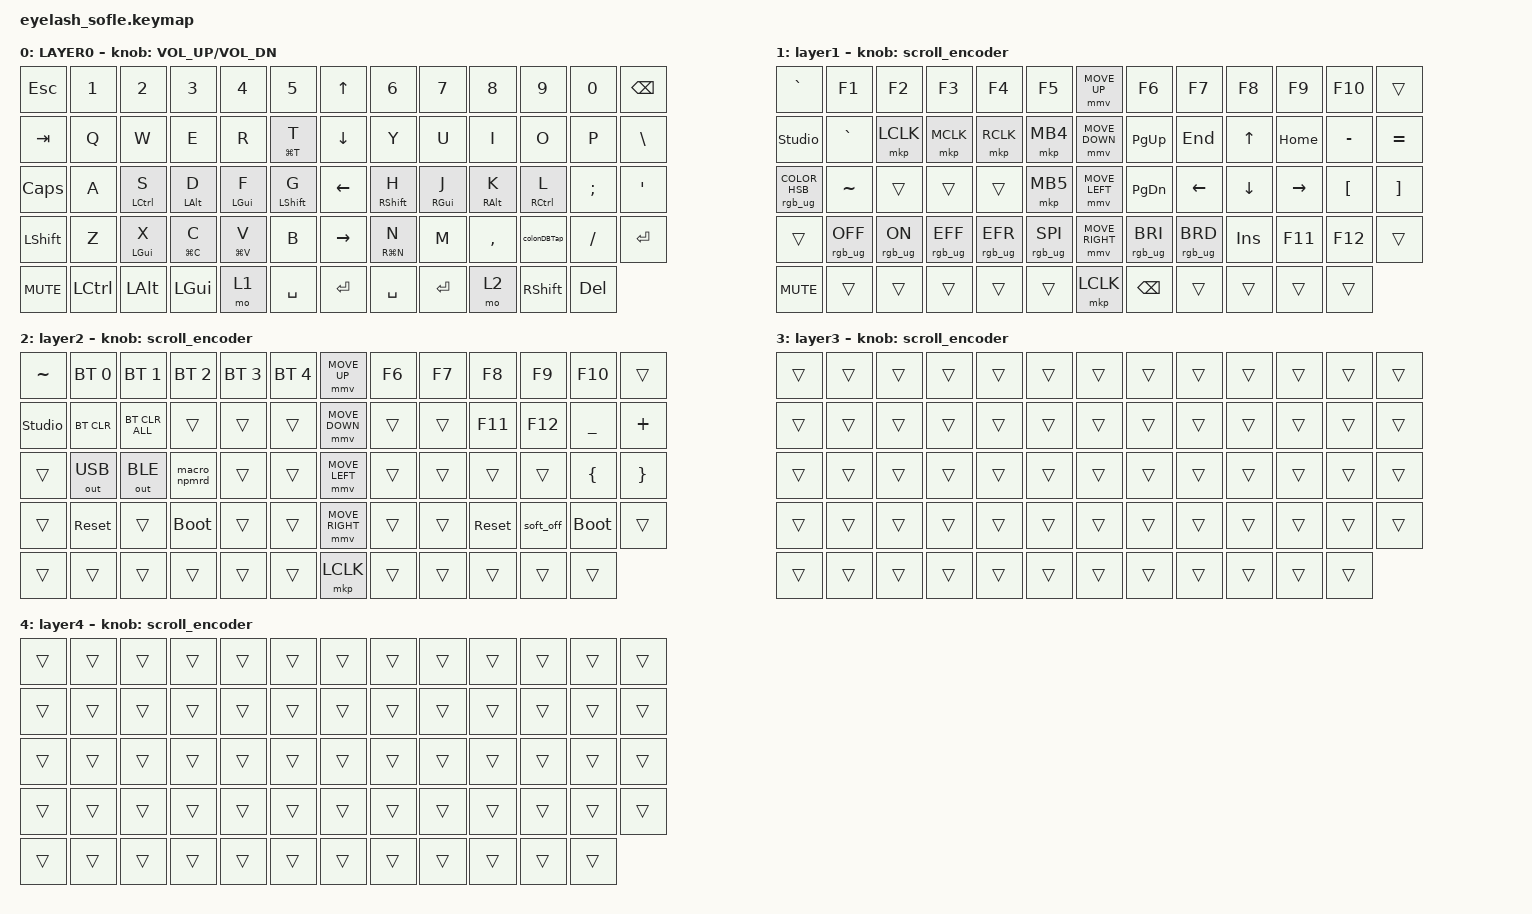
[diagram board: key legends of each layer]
#define ZMK_POINTING_DEFAULT_MOVE_VAL 1200  // 600
#define ZMK_POINTING_DEFAULT_SCRL_VAL 25   // 10

#include <input/processors.dtsi>
#include <zephyr/dt-bindings/input/input-event-codes.h>
#include <behaviors.dtsi>
#include <dt-bindings/zmk/bt.h>
#include <dt-bindings/zmk/keys.h>
#include <dt-bindings/zmk/outputs.h>
#include <dt-bindings/zmk/pointing.h>
#include <dt-bindings/zmk/rgb.h>

&mmv_input_listener { input-processors = <&zip_xy_scaler 2 1>; };

&msc_input_listener { input-processors = <&zip_scroll_scaler 2 1>; };

&msc {
    acceleration-exponent = <1>;      // 0
    time-to-max-speed-ms = <300>;       // 300 // 100
    delay-ms = <0>;                   // 0
};

&mmv {
    time-to-max-speed-ms = <1600>; // 500
    acceleration-exponent = <1>;
    trigger-period-ms = <16>;
};

&soft_off { hold-time-ms = <2000>; };

/ {
    scroll_encoder: scroll_encoder {
        compatible = "zmk,behavior-sensor-rotate";
        #sensor-binding-cells = <0>;
        bindings = <&msc SCRL_DOWN>, <&msc SCRL_UP>;

        tap-ms = <100>;
    };

    colonDBTap: colonDBTap {
        compatible = "zmk,behavior-tap-dance";
        label = "COLONDBTAP";
        #binding-cells = <0>;
        bindings = <&kp PERIOD>, <&kp COLON>;

        tapping-term-ms = <250>;
    };

    longPress: longPress {
        compatible = "zmk,behavior-hold-tap";
        label = "LONGPRESS";
        bindings = <&kp>, <&kp>;

        #binding-cells = <2>;
        tapping-term-ms = <400>;
        flavor = "tap-preferred";
    };

    HMSR: HMSR {
        compatible = "zmk,behavior-hold-tap";
        label = "HMSR";
        bindings = <&kp>, <&kp>;

        #binding-cells = <2>;
        tapping-term-ms = <200>;
        hold-trigger-key-positions = <0 1 2 3 4 5 13 14 15 16 17 18 26 27 28 29 30 31 39 40 41 42 43 44 53 54 55 56 57 52>;
        hold-trigger-on-release;
        hold-while-undecided;
    };

    HMSL: HMSL {
        compatible = "zmk,behavior-hold-tap";
        label = "HMSL";
        bindings = <&kp>, <&kp>;

        #binding-cells = <2>;
        tapping-term-ms = <200>;
        hold-trigger-on-release;
        hold-while-undecided;
        hold-trigger-key-positions = <6 7 8 9 10 11 12 19 20 21 22 23 24 25 33 34 35 36 37 38 45 46 47 48 49 50 51 58 59 60 61 62 63 32>;
    };

    HMR: HMR {
        compatible = "zmk,behavior-hold-tap";
        label = "HMR";
        bindings = <&kp>, <&kp>;

        #binding-cells = <2>;
        tapping-term-ms = <200>;
        hold-trigger-key-positions = <0 1 2 3 4 5 13 14 15 16 17 18 26 27 28 29 30 31 39 40 41 42 43 44 53 54 55 56 57 52>;
        hold-trigger-on-release;
        hold-while-undecided;
        flavor = "tap-preferred";
    };

    HML: HML {
        compatible = "zmk,behavior-hold-tap";
        label = "HML";
        bindings = <&kp>, <&kp>;

        #binding-cells = <2>;
        tapping-term-ms = <200>;
        hold-trigger-on-release;
        hold-while-undecided;
        hold-trigger-key-positions = <6 7 8 9 10 11 12 19 20 21 22 23 24 25 33 34 35 36 37 38 45 46 47 48 49 50 51 58 59 60 61 62 63 32>;
        flavor = "tap-preferred";
    };

    behaviors {
    };

    combos {
        compatible = "zmk,combos";

        softoff {
            bindings = <&soft_off>;
            key-positions = <14 28 40>;
        };
    };

    macros {
        macro_npmrd: macro_npmrd {
            compatible = "zmk,behavior-macro";
            #binding-cells = <0>;
            bindings =
                <&none &kp N &kp P &kp M &kp SPACE &kp R &kp U &kp N &kp SPACE &kp D &kp E &kp V &kp RET>,
                <&macro_press>;

            label = "MACRO_NPMRD";
        };
    };

    keymap {
        compatible = "zmk,keymap";

        layer0 {
            bindings = <
&kp ESC     &kp N1     &kp N2                 &kp N3              &kp N4              &kp N5                &kp UP_ARROW     &kp N6              &kp N7            &kp N8            &kp N9                &kp N0      &kp BACKSPACE
&kp TAB     &kp Q      &kp W                  &kp E               &kp R               &longPress LG(T) T    &kp DOWN_ARROW   &kp Y               &kp U             &kp I             &kp O                 &kp P       &kp BSLH
&kp CAPS    &kp A      &HML LEFT_CONTROL S    &HML LEFT_ALT D     &HML LEFT_GUI F     &HML LSHIFT G         &kp LEFT_ARROW   &HMR RIGHT_SHIFT H  &HMR RIGHT_GUI J  &HMR RIGHT_ALT K  &HMR RIGHT_CONTROL L  &kp SEMI    &kp APOS
&kp LSHFT   &kp Z      &longPress LEFT_GUI X  &longPress LG(C) C  &longPress LG(V) V  &kp B                 &kp RIGHT_ARROW  &longPress RG(N) N  &kp M             &kp COMMA         &colonDBTap           &kp FSLH    &kp ENTER
&kp C_MUTE  &kp LCTRL  &kp LEFT_ALT           &kp LEFT_GUI        &mo 1               &kp SPACE             &kp ENTER        &kp SPACE           &kp ENTER         &mo 2             &kp RIGHT_SHIFT       &kp DELETE
            >;

            sensor-bindings = <&inc_dec_kp C_VOLUME_UP C_VOL_DN>;
            display-name = "LAYER0";
        };

        layer_1 {
            bindings = <
&kp GRAVE                         &kp F1           &kp F2          &kp F3           &kp F4           &kp F5             &mmv MOVE_UP     &kp F6           &kp F7           &kp F8      &kp F9     &kp F10           &trans
&studio_unlock                    &kp GRAVE        &mkp LCLK       &mkp MCLK        &mkp RCLK        &mkp MB4           &mmv MOVE_DOWN   &kp PG_UP        &kp END          &kp UP      &kp HOME   &kp MINUS         &kp EQUAL
&rgb_ug RGB_COLOR_HSB(37,100,50)  &kp TILDE        &trans          &trans           &trans           &mkp MB5           &mmv MOVE_LEFT   &kp PG_DN        &kp LEFT         &kp DOWN    &kp RIGHT  &kp LEFT_BRACKET  &kp RIGHT_BRACKET
&trans                            &rgb_ug RGB_OFF  &rgb_ug RGB_ON  &rgb_ug RGB_EFF  &rgb_ug RGB_EFR  &rgb_ug RGB_SPI    &mmv MOVE_RIGHT  &rgb_ug RGB_BRI  &rgb_ug RGB_BRD  &kp INSERT  &kp F11    &kp F12           &trans
&kp C_MUTE                        &trans           &trans          &trans           &trans           &trans             &mkp LCLK        &kp BACKSPACE    &trans           &trans      &trans     &trans
            >;

            display-name = "layer1";
            sensor-bindings = <&scroll_encoder>;
        };

        layer_2 {
            bindings = <
&kp TILDE       &bt BT_SEL 0  &bt BT_SEL 1    &bt BT_SEL 2  &bt BT_SEL 3  &bt BT_SEL 4    &mmv MOVE_UP     &kp F6  &kp F7  &kp F8      &kp F9     &kp F10      &trans
&studio_unlock  &bt BT_CLR    &bt BT_CLR_ALL  &trans        &trans        &trans          &mmv MOVE_DOWN   &trans  &trans  &kp F11     &kp F12    &kp UNDER    &kp PLUS
&trans          &out OUT_USB  &out OUT_BLE    &macro_npmrd  &trans        &trans          &mmv MOVE_LEFT   &trans  &trans  &trans      &trans     &kp LBRC     &kp RBRC
&trans          &sys_reset    &trans          &bootloader   &trans        &trans          &mmv MOVE_RIGHT  &trans  &trans  &sys_reset  &soft_off  &bootloader  &trans
&trans          &trans        &trans          &trans        &trans        &trans          &mkp LCLK        &trans  &trans  &trans      &trans     &trans
            >;

            display-name = "layer2";
            sensor-bindings = <&scroll_encoder>;
        };

        layer_3 {
            bindings = <
&trans  &trans  &trans  &trans  &trans  &trans    &trans  &trans  &trans  &trans  &trans  &trans  &trans
&trans  &trans  &trans  &trans  &trans  &trans    &trans  &trans  &trans  &trans  &trans  &trans  &trans
&trans  &trans  &trans  &trans  &trans  &trans    &trans  &trans  &trans  &trans  &trans  &trans  &trans
&trans  &trans  &trans  &trans  &trans  &trans    &trans  &trans  &trans  &trans  &trans  &trans  &trans
&trans  &trans  &trans  &trans  &trans  &trans    &trans  &trans  &trans  &trans  &trans  &trans
            >;

            display-name = "layer3";
            sensor-bindings = <&scroll_encoder>;
        };

        layer_4 {
            bindings = <
&trans  &trans  &trans  &trans  &trans  &trans    &trans  &trans  &trans  &trans  &trans  &trans  &trans
&trans  &trans  &trans  &trans  &trans  &trans    &trans  &trans  &trans  &trans  &trans  &trans  &trans
&trans  &trans  &trans  &trans  &trans  &trans    &trans  &trans  &trans  &trans  &trans  &trans  &trans
&trans  &trans  &trans  &trans  &trans  &trans    &trans  &trans  &trans  &trans  &trans  &trans  &trans
&trans  &trans  &trans  &trans  &trans  &trans    &trans  &trans  &trans  &trans  &trans  &trans
            >;

            display-name = "layer4";
            sensor-bindings = <&scroll_encoder>;
        };
    };
};
